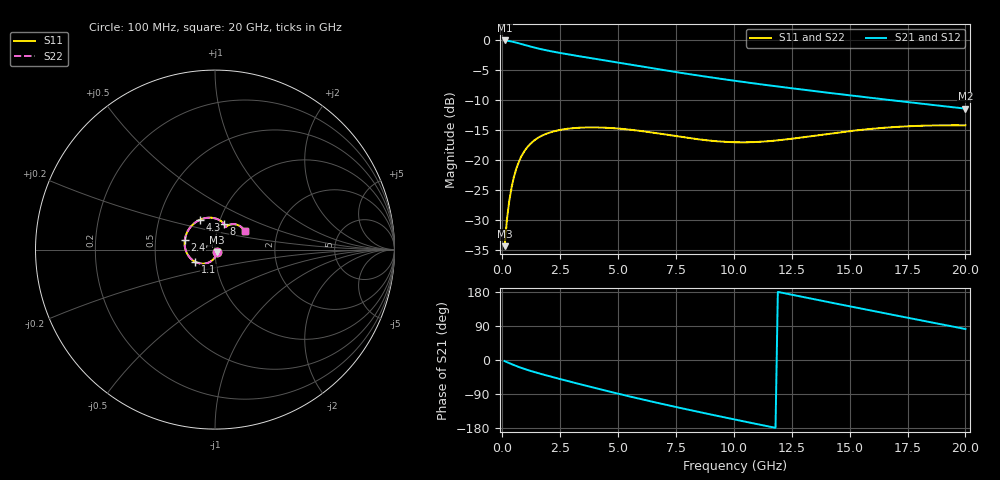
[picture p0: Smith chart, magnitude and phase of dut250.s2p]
! Touchstone file exported from HFSS 2023.1.0
!  File:  D:/Users/fzz/RDL_TSV/temp_RDL_TSV_250_1778760019.aedt
!  Generated:  8:13:15 %x4E0B%x5348  5%x6708 14, 2026
!  Design:  RDL_TSV
!  Project:  temp_RDL_TSV_250_1778760019
!  Setup:  Setup1
!  Solution:  Sweep
! Variables:
!  dtsv = 26.58um
!  hbump = 3um
!  htsv = 90.91um
!  ldown = 667.43um
!  lrdl = 202.35um
!  p = 40
!  p1 = 55.89um
!  rhole = 10um
!  subl = 2811.69um
!  t = 450um
!  tdown = 4.85um
!  trdl = 4.72um
!  viad = 10um
!  wdown = 15.12um
!  wrdl = 25.46um
!  xbump = 18um
# GHz S MA R 50.000000
! Terminal data exported
! Port[1] = TM1_1_T1
! Port[2] = TM1_4_T1
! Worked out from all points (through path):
!   200 points, 100 MHz to 20 GHz, reference 50 ohm
!   highest |S21| = -0.12 dB at 100 MHz (marker M1); lowest = -11.4 dB at 20 GHz (marker M2)
!   group delay of S21, straight-line fit = 36.8 ps
!   lowest |S11| = -34.3 dB at 100 MHz (marker M3), VSWR 1.04, Z = 51.1 - j1.63 ohm
!   |S11| at or under -10 dB: start of sweep to end of sweep
!   |S22| runs from -34.3 to -14.2 dB; largest |S21 - S12| = 2.1e-14
!   S11 on the Smith chart (normalised r, x): 100 MHz: 1.02, -0.03; 1.1 GHz: 0.80, -0.11; 2.4 GHz: 0.71, +0.08; 4.3 GHz: 0.80, +0.27; 8 GHz: 1.05, +0.31; 20 GHz: 1.36, +0.29
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0.1  0.01926 -56.1  0.9861 -2.8  0.9861 -2.8  0.01926 -56.1
! Gamma 0 0 0 0
! Port Impedance 50 0 50 0
0.2  0.03199 -79.3  0.9817 -5.6  0.9817 -5.6  0.03199 -79.3
0.3  0.04569 -92.5  0.9752 -8.3  0.9752 -8.3  0.04567 -92.5
0.4  0.05921 -102.4  0.967 -10.9  0.967 -10.9  0.05919 -102.4
0.5  0.07209 -110.9  0.9574 -13.4  0.9574 -13.4  0.07207 -110.8
0.8  0.105 -131.5  0.9242 -20.3  0.9242 -20.3  0.105 -131.5
1.1  0.1293 -148.1  0.8901 -26.5  0.8901 -26.5  0.1292 -148.1
1.6  0.1554 -170.2  0.841 -35.5  0.841 -35.5  0.1553 -170.2
2.4  0.1765 162.6  0.7823 -48.7  0.7823 -48.7  0.1764 162.6
3.5  0.1864 134.0  0.72 -66.1  0.72 -66.1  0.1863 134.0
4.3  0.1863 117.2  0.6793 -78.4  0.6793 -78.4  0.1862 117.2
5.4  0.1798 98.5  0.6267 -94.7  0.6267 -94.7  0.1797 98.5
6.8  0.1658 81.1  0.5659 -114.5  0.5659 -114.5  0.1657 81.2
8  0.1531 71.7  0.5203 -130.7  0.5203 -130.7  0.153 71.8
9  0.1449 67.1  0.4867 -143.8  0.4867 -143.8  0.1448 67.3
10.1  0.1406 64.8  0.4541 -157.8  0.4541 -157.8  0.1405 65.0
11.7  0.1446 63.2  0.4132 -177.8  0.4132 -177.8  0.1447 63.4
13.4  0.1586 60.0  0.376 161.2  0.376 161.2  0.1588 60.2
15.1  0.1748 54.1  0.3434 140.5  0.3434 140.5  0.1752 54.3
16.7  0.1868 46.9  0.316 121.2  0.316 121.2  0.1873 47.2
18.3  0.1934 39.4  0.2913 102.0  0.2913 102.0  0.1939 39.7
20  0.1945 31.8  0.2677 81.8  0.2677 81.8  0.195 32.0
